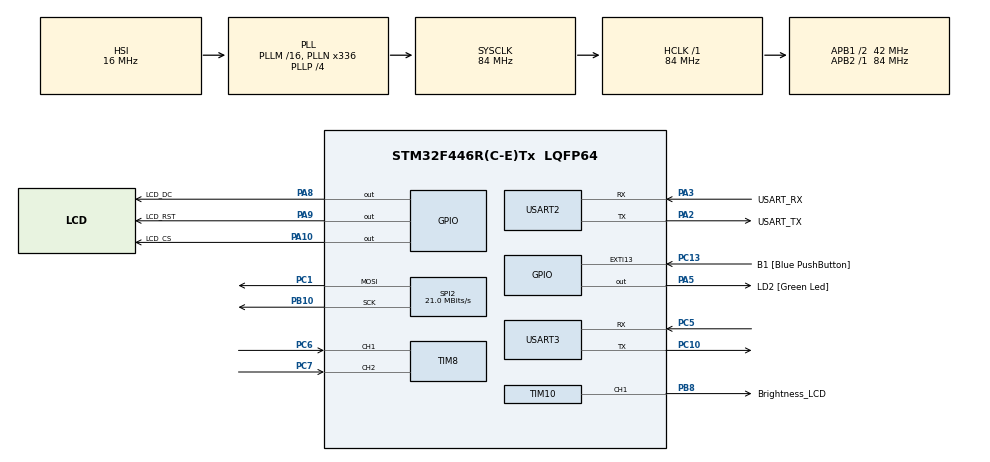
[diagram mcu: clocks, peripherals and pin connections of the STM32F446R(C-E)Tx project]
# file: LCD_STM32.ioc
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Dma.Request0=SPI2_TX
Dma.SPI2_TX.0.Direction=DMA_MEMORY_TO_PERIPH
Dma.SPI2_TX.0.FIFOMode=DMA_FIFOMODE_DISABLE
Dma.SPI2_TX.0.Instance=DMA1_Stream4
Dma.SPI2_TX.0.MemDataAlignment=DMA_MDATAALIGN_BYTE
Dma.SPI2_TX.0.MemInc=DMA_MINC_ENABLE
Dma.SPI2_TX.0.Mode=DMA_NORMAL
Dma.SPI2_TX.0.PeriphDataAlignment=DMA_PDATAALIGN_BYTE
Dma.SPI2_TX.0.PeriphInc=DMA_PINC_DISABLE
Dma.SPI2_TX.0.Priority=DMA_PRIORITY_LOW
Mcu.Family=STM32F4
Mcu.Name=STM32F446R(C-E)Tx
Mcu.Package=LQFP64
NVIC.DMA1_Stream4_IRQn=true\:0\:0\:false\:false\:true\:false\:true\:true
NVIC.EXTI15_10_IRQn=true\:0\:0\:false\:false\:true\:true\:true\:true
NVIC.PriorityGroup=NVIC_PRIORITYGROUP_0
NVIC.TIM8_TRG_COM_TIM14_IRQn=true\:0\:0\:false\:false\:true\:true\:true\:true
NVIC.USART3_IRQn=true\:0\:0\:false\:false\:true\:true\:true\:true
PA10.GPIO_Label=LCD_CS
PA10.PinState=GPIO_PIN_SET
PA10.Signal=GPIO_Output
PA13.GPIO_Label=TMS
PA13.Mode=Serial_Wire
PA13.Signal=SYS_JTMS-SWDIO
PA14.GPIO_Label=TCK
PA14.Mode=Serial_Wire
PA14.Signal=SYS_JTCK-SWCLK
PA2.GPIO_Label=USART_TX
PA2.Mode=Asynchronous
PA2.Signal=USART2_TX
PA3.GPIO_Label=USART_RX
PA3.Mode=Asynchronous
PA3.Signal=USART2_RX
PA5.GPIO_Label=LD2 [Green Led]
PA5.Signal=GPIO_Output
PA8.GPIO_Label=LCD_DC
PA8.Signal=GPIO_Output
PA9.GPIO_Label=LCD_RST
PA9.Signal=GPIO_Output
PB10.Mode=TX_Only_Simplex_Unidirect_Master
PB10.Signal=SPI2_SCK
PB3.GPIO_Label=SWO
PB3.Signal=SYS_JTDO-SWO
PB8.GPIO_Label=Brightness_LCD
PB8.Signal=S_TIM10_CH1
PC1.Mode=TX_Only_Simplex_Unidirect_Master
PC1.Signal=SPI2_MOSI
PC10.Mode=Asynchronous
PC10.Signal=USART3_TX
PC13.GPIO_Label=B1 [Blue PushButton]
PC13.GPIO_ModeDefaultEXTI=GPIO_MODE_IT_FALLING
PC13.GPIO_PuPd=GPIO_PULLUP
PC13.Signal=GPXTI13
PC14-OSC32_IN.Mode=LSE-External-Oscillator
PC14-OSC32_IN.Signal=RCC_OSC32_IN
PC15-OSC32_OUT.Mode=LSE-External-Oscillator
PC15-OSC32_OUT.Signal=RCC_OSC32_OUT
PC5.Mode=Asynchronous
PC5.Signal=USART3_RX
PC6.Signal=S_TIM8_CH1
PC7.Signal=S_TIM8_CH2
PH0-OSC_IN.Mode=HSE-External-Oscillator
PH0-OSC_IN.Signal=RCC_OSC_IN
PH1-OSC_OUT.Mode=HSE-External-Oscillator
PH1-OSC_OUT.Signal=RCC_OSC_OUT
ProjectManager.HeapSize=0x200
ProjectManager.StackSize=0x400
ProjectManager.TargetToolchain=STM32CubeIDE
RCC.48MHZClocksFreq_Value=84000000
RCC.AHBFreq_Value=84000000
RCC.APB1CLKDivider=RCC_HCLK_DIV2
RCC.APB1Freq_Value=42000000
RCC.APB1TimFreq_Value=84000000
RCC.APB2Freq_Value=84000000
RCC.APB2TimFreq_Value=84000000
RCC.CortexFreq_Value=84000000
RCC.FLatency-AdvancedSettings=FLASH_LATENCY_2
RCC.HCLKFreq_Value=84000000
RCC.HSE_VALUE=8000000
RCC.HSI_VALUE=16000000
RCC.PLLN=336
RCC.PLLP=RCC_PLLP_DIV4
RCC.SYSCLKFreq_VALUE=84000000
RCC.SYSCLKSource=RCC_SYSCLKSOURCE_PLLCLK
RCC.USBFreq_Value=168000000
RCC.VCOOutputFreq_Value=336000000
SH.S_TIM10_CH1.0=TIM10_CH1,PWM Generation1 CH1
SH.S_TIM8_CH1.0=TIM8_CH1,Encoder_Interface
SH.S_TIM8_CH2.0=TIM8_CH2,Encoder_Interface
SPI2.BaudRatePrescaler=SPI_BAUDRATEPRESCALER_2
SPI2.CalculateBaudRate=21.0 MBits/s
SPI2.DataSize=SPI_DATASIZE_8BIT
SPI2.Direction=SPI_DIRECTION_2LINES
SPI2.FirstBit=SPI_FIRSTBIT_MSB
SPI2.Mode=SPI_MODE_MASTER
SPI2.VirtualType=VM_MASTER
TIM10.AutoReloadPreload=TIM_AUTORELOAD_PRELOAD_DISABLE
TIM10.Channel=TIM_CHANNEL_1
TIM10.Period=1000-1
TIM10.Prescaler=84-1
TIM10.Pulse=200
TIM14.AutoReloadPreload=TIM_AUTORELOAD_PRELOAD_ENABLE
TIM14.Period=50000-1
TIM14.Prescaler=84-1
TIM8.AutoReloadPreload=TIM_AUTORELOAD_PRELOAD_ENABLE
TIM8.EncoderMode=TIM_ENCODERMODE_TI12
TIM8.IC1Filter=15
TIM8.IC2Filter=15
USART2.VirtualMode=VM_ASYNC
USART3.VirtualMode=VM_ASYNC
VP_TIM10_VS_ClockSourceINT.Mode=Enable_Timer
VP_TIM14_VS_ClockSourceINT.Mode=Enable_Timer
board=NUCLEO-F446RE

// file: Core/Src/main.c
/* USER CODE BEGIN Header */
/**
  ******************************************************************************
  * @file           : main.c
  * @brief          : Main program body
  ******************************************************************************
  * @attention
  *
  * Copyright (c) 2025 STMicroelectronics.
  * All rights reserved.
  *
  * This software is licensed under terms that can be found in the LICENSE file
  * in the root directory of this software component.
  * If no LICENSE file comes with this software, it is provided AS-IS.
  *
  ******************************************************************************
  */
/* USER CODE END Header */
#include "main.h"
#include "dma.h"
#include "spi.h"
#include "tim.h"
#include "usart.h"
#include "gpio.h"

/* USER CODE BEGIN Includes */
#include "lcd.h"
#include "ui.h"
#include "fsm_controls.h"
#include "uart_connection.h"
/* USER CODE END Includes */

/* USER CODE BEGIN PV */
extern const Page homePage;
extern const Page settingsPage;
#define RX_BUFFER_SIZE 64
volatile uint8_t rxData;
static char uartLine[RX_BUFFER_SIZE];
static uint8_t uartIndex = 0;
/* USER CODE END PV */

void SystemClock_Config(void);

int main(void)
{

  /* MCU Configuration--------------------------------------------------------*/

  /* Reset of all peripherals, Initializes the Flash interface and the Systick. */
  HAL_Init();

  /* Configure the system clock */
  SystemClock_Config();

  /* Initialize all configured peripherals */
  MX_GPIO_Init();
  MX_DMA_Init();
  MX_USART2_UART_Init();
  MX_SPI2_Init();
  MX_TIM10_Init();
  MX_TIM8_Init();
  MX_TIM14_Init();
  MX_USART3_UART_Init();

  /* Infinite loop */
  /* USER CODE BEGIN WHILE */
  HAL_TIM_PWM_Start(&htim10, TIM_CHANNEL_1);
  HAL_TIM_Encoder_Start(&htim8, TIM_CHANNEL_ALL);
  HAL_UART_Receive_IT(&huart3, &rxData, 1);

  lcdInit();
  lcdFillBackground(BLACK);

  Ui_SetCurrentPage(&homePage);

  while (1)
  {

	  HAL_Delay(10000);
	  //Ui_UpdateDHTData(23.5, 40);
    /* USER CODE END WHILE */

  }
}

void SystemClock_Config(void)
{
  RCC_OscInitTypeDef RCC_OscInitStruct = {0};
  RCC_ClkInitTypeDef RCC_ClkInitStruct = {0};

  /** Configure the main internal regulator output voltage
  */
  __HAL_RCC_PWR_CLK_ENABLE();
  __HAL_PWR_VOLTAGESCALING_CONFIG(PWR_REGULATOR_VOLTAGE_SCALE3);

  /** Initializes the RCC Oscillators according to the specified parameters
  * in the RCC_OscInitTypeDef structure.
  */
  RCC_OscInitStruct.OscillatorType = RCC_OSCILLATORTYPE_HSI;
  RCC_OscInitStruct.HSIState = RCC_HSI_ON;
  RCC_OscInitStruct.HSICalibrationValue = RCC_HSICALIBRATION_DEFAULT;
  RCC_OscInitStruct.PLL.PLLState = RCC_PLL_ON;
  RCC_OscInitStruct.PLL.PLLSource = RCC_PLLSOURCE_HSI;
  RCC_OscInitStruct.PLL.PLLM = 16;
  RCC_OscInitStruct.PLL.PLLN = 336;
  RCC_OscInitStruct.PLL.PLLP = RCC_PLLP_DIV4;
  RCC_OscInitStruct.PLL.PLLQ = 2;
  RCC_OscInitStruct.PLL.PLLR = 2;
  if (HAL_RCC_OscConfig(&RCC_OscInitStruct) != HAL_OK)
  {
    Error_Handler();
  }

  /** Initializes the CPU, AHB and APB buses clocks
  */
  RCC_ClkInitStruct.ClockType = RCC_CLOCKTYPE_HCLK|RCC_CLOCKTYPE_SYSCLK
                              |RCC_CLOCKTYPE_PCLK1|RCC_CLOCKTYPE_PCLK2;
  RCC_ClkInitStruct.SYSCLKSource = RCC_SYSCLKSOURCE_PLLCLK;
  RCC_ClkInitStruct.AHBCLKDivider = RCC_SYSCLK_DIV1;
  RCC_ClkInitStruct.APB1CLKDivider = RCC_HCLK_DIV2;
  RCC_ClkInitStruct.APB2CLKDivider = RCC_HCLK_DIV1;

  if (HAL_RCC_ClockConfig(&RCC_ClkInitStruct, FLASH_LATENCY_2) != HAL_OK)
  {
    Error_Handler();
  }
}

/* USER CODE BEGIN 4 */
void HAL_SPI_TxCpltCallback(SPI_HandleTypeDef *hspi)
{
    if (hspi == &hspi2) {
        HAL_GPIO_WritePin(LCD_CS_GPIO_Port, LCD_CS_Pin, GPIO_PIN_SET);
        lcdSpiBusy = 0;
    }
}

void HAL_GPIO_EXTI_Callback(uint16_t GPIO_Pin)
{
    if(GPIO_Pin == B1_Pin){
        __HAL_TIM_SET_COUNTER(&htim14, 0);
        HAL_TIM_Base_Start_IT(&htim14);
    }
}
void HAL_TIM_PeriodElapsedCallback(TIM_HandleTypeDef *htim)
{
	if(htim == &htim14){
		button_CheckState();
	}
}

void HAL_UART_RxCpltCallback(UART_HandleTypeDef *huart)
{
    if(huart->Instance == USART3)
    {
        if(rxData == '\n' || uartIndex >= RX_BUFFER_SIZE-1)
        {
            uartLine[uartIndex] = '\0';
            Uart_parseDHTData(uartLine);
            uartIndex = 0;
        }
        else
        {
            uartLine[uartIndex++] = rxData;
        }

        // restart IT reception
        HAL_UART_Receive_IT(&huart3, &rxData, 1);
    }
}

void HAL_UART_TxCpltCallback(UART_HandleTypeDef *huart)
{
    if(huart->Instance == USART3)
    {
        transmit_it_flag = 0;
    }
}
/* USER CODE END 4 */

void Error_Handler(void)
{
  __disable_irq();
  while (1)
  {
  }
}
